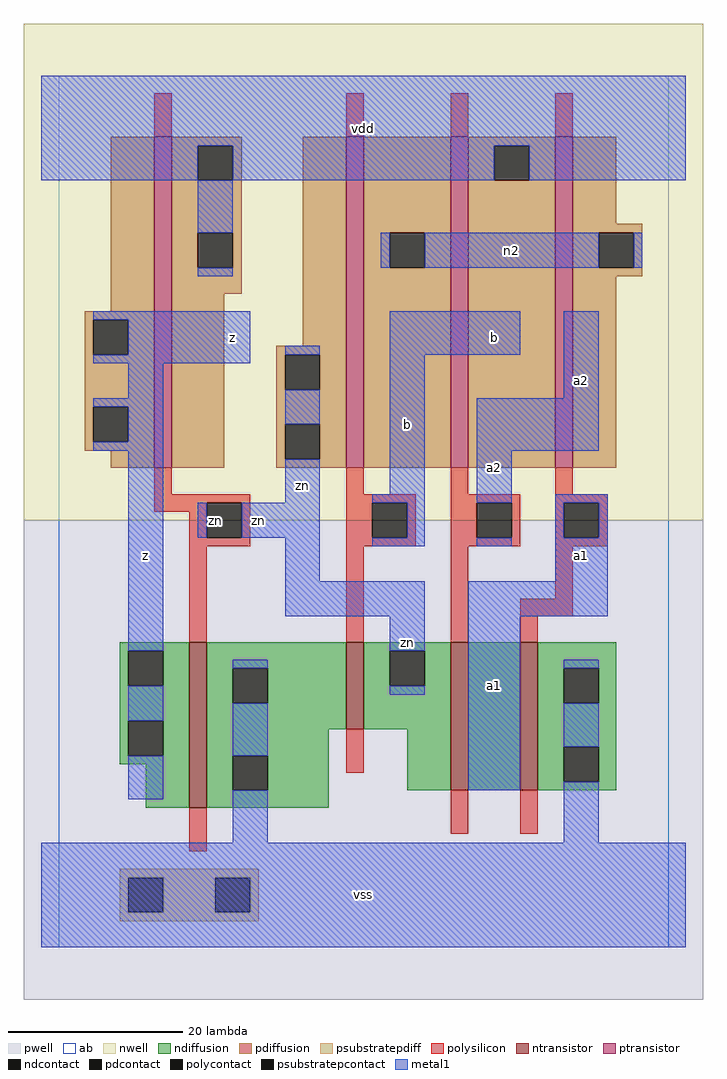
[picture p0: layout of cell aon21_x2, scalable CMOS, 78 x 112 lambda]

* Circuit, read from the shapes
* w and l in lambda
.subckt aon21_x2 a1 a2 b n2 vdd vss z zn
M1 vss zn z vss nfet w=19 l=2
M2 zn b vss vss nfet w=10 l=2
M3 n1 a2 zn vss nfet w=17 l=2
M4 vss a1 n1 vss nfet w=17 l=2
M5 vdd zn z n3 pfet w=38 l=2
M6 n2 b zn n3 pfet w=38 l=2
M7 vdd a2 n2 n3 pfet w=38 l=2
M8 n2 a1 vdd n3 pfet w=38 l=2
.ends

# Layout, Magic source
magic
tech scmos
<< ab >>
rect 0 0 70 100
<< pwell >>
rect -4 -6 74 49
<< nwell >>
rect -4 49 74 106
<< polysilicon >>
rect 11 93 13 98
rect 33 93 35 98
rect 45 93 47 98
rect 57 93 59 98
rect 11 52 13 55
rect 33 52 35 55
rect 45 52 47 55
rect 57 52 59 55
rect 11 51 22 52
rect 11 50 17 51
rect 15 47 17 50
rect 21 47 22 51
rect 15 46 22 47
rect 33 51 41 52
rect 33 47 36 51
rect 40 47 41 51
rect 33 46 41 47
rect 45 51 53 52
rect 45 47 48 51
rect 52 47 53 51
rect 45 46 53 47
rect 57 51 63 52
rect 57 47 58 51
rect 62 47 63 51
rect 57 46 63 47
rect 15 35 17 46
rect 33 35 35 46
rect 45 35 47 46
rect 57 40 59 46
rect 53 38 59 40
rect 53 35 55 38
rect 33 20 35 25
rect 15 11 17 16
rect 45 13 47 18
rect 53 13 55 18
<< ndiffusion >>
rect 7 34 15 35
rect 7 30 8 34
rect 12 30 15 34
rect 7 26 15 30
rect 7 22 8 26
rect 12 22 15 26
rect 7 21 15 22
rect 10 16 15 21
rect 17 32 33 35
rect 17 28 20 32
rect 24 28 33 32
rect 17 25 33 28
rect 35 34 45 35
rect 35 30 38 34
rect 42 30 45 34
rect 35 25 45 30
rect 17 22 31 25
rect 17 18 20 22
rect 24 18 31 22
rect 40 18 45 25
rect 47 18 53 35
rect 55 32 64 35
rect 55 28 58 32
rect 62 28 64 32
rect 55 23 64 28
rect 55 19 58 23
rect 62 19 64 23
rect 55 18 64 19
rect 17 16 31 18
<< pdiffusion >>
rect 6 73 11 93
rect 3 72 11 73
rect 3 68 4 72
rect 8 68 11 72
rect 3 62 11 68
rect 3 58 4 62
rect 8 58 11 62
rect 3 57 11 58
rect 6 55 11 57
rect 13 92 21 93
rect 13 88 16 92
rect 20 88 21 92
rect 13 82 21 88
rect 13 78 16 82
rect 20 78 21 82
rect 13 75 21 78
rect 13 55 19 75
rect 28 69 33 93
rect 25 68 33 69
rect 25 64 26 68
rect 30 64 33 68
rect 25 60 33 64
rect 25 56 26 60
rect 30 56 33 60
rect 25 55 33 56
rect 35 82 45 93
rect 35 78 38 82
rect 42 78 45 82
rect 35 55 45 78
rect 47 92 57 93
rect 47 88 50 92
rect 54 88 57 92
rect 47 55 57 88
rect 59 83 64 93
rect 59 82 67 83
rect 59 78 62 82
rect 66 78 67 82
rect 59 77 67 78
rect 59 55 64 77
<< metal1 >>
rect -2 92 72 100
rect -2 88 16 92
rect 20 88 50 92
rect 54 88 72 92
rect 16 82 20 88
rect 37 78 38 82
rect 42 78 62 82
rect 66 78 67 82
rect 16 77 20 78
rect 4 72 22 73
rect 8 68 22 72
rect 4 67 22 68
rect 26 68 30 69
rect 8 63 12 67
rect 4 62 12 63
rect 8 58 12 62
rect 4 57 12 58
rect 8 34 12 57
rect 26 60 30 64
rect 26 51 30 56
rect 38 68 53 73
rect 38 52 42 68
rect 58 63 62 73
rect 16 47 17 51
rect 21 47 30 51
rect 26 42 30 47
rect 36 51 42 52
rect 40 47 42 51
rect 36 46 42 47
rect 48 57 62 63
rect 48 51 52 57
rect 48 46 52 47
rect 57 51 63 52
rect 57 47 58 51
rect 62 47 63 51
rect 57 42 63 47
rect 26 38 42 42
rect 38 34 42 38
rect 8 26 12 30
rect 8 17 12 22
rect 20 32 24 33
rect 38 29 42 30
rect 47 38 63 42
rect 20 22 24 28
rect 47 18 53 38
rect 58 32 62 33
rect 58 23 62 28
rect 20 12 24 18
rect 58 12 62 19
rect -2 0 72 12
<< ntransistor >>
rect 15 16 17 35
rect 33 25 35 35
rect 45 18 47 35
rect 53 18 55 35
<< ptransistor >>
rect 11 55 13 93
rect 33 55 35 93
rect 45 55 47 93
rect 57 55 59 93
<< polycontact >>
rect 17 47 21 51
rect 36 47 40 51
rect 48 47 52 51
rect 58 47 62 51
<< ndcontact >>
rect 8 30 12 34
rect 8 22 12 26
rect 20 28 24 32
rect 38 30 42 34
rect 20 18 24 22
rect 58 28 62 32
rect 58 19 62 23
<< pdcontact >>
rect 4 68 8 72
rect 4 58 8 62
rect 16 88 20 92
rect 16 78 20 82
rect 26 64 30 68
rect 26 56 30 60
rect 38 78 42 82
rect 50 88 54 92
rect 62 78 66 82
<< psubstratepcontact >>
rect 8 4 12 8
rect 18 4 22 8
<< psubstratepdiff >>
rect 7 8 23 9
rect 7 4 8 8
rect 12 4 18 8
rect 22 4 23 8
rect 7 3 23 4
<< labels >>
rlabel polycontact 18 49 18 49 6 zn
rlabel metal1 10 45 10 45 6 z
rlabel metal1 10 45 10 45 6 z
rlabel metal1 28 53 28 53 6 zn
rlabel metal1 23 49 23 49 6 zn
rlabel metal1 20 70 20 70 6 z
rlabel metal1 20 70 20 70 6 z
rlabel metal1 35 6 35 6 6 vss
rlabel metal1 35 6 35 6 6 vss
rlabel metal1 40 35 40 35 6 zn
rlabel metal1 50 30 50 30 6 a1
rlabel metal1 50 30 50 30 6 a1
rlabel metal1 50 70 50 70 6 b
rlabel metal1 50 55 50 55 6 a2
rlabel metal1 40 60 40 60 6 b
rlabel metal1 50 70 50 70 6 b
rlabel metal1 40 60 40 60 6 b
rlabel metal1 50 55 50 55 6 a2
rlabel metal1 35 94 35 94 6 vdd
rlabel metal1 35 94 35 94 6 vdd
rlabel metal1 60 45 60 45 6 a1
rlabel metal1 60 45 60 45 6 a1
rlabel metal1 60 65 60 65 6 a2
rlabel metal1 60 65 60 65 6 a2
rlabel metal1 52 80 52 80 6 n2
<< end >>
